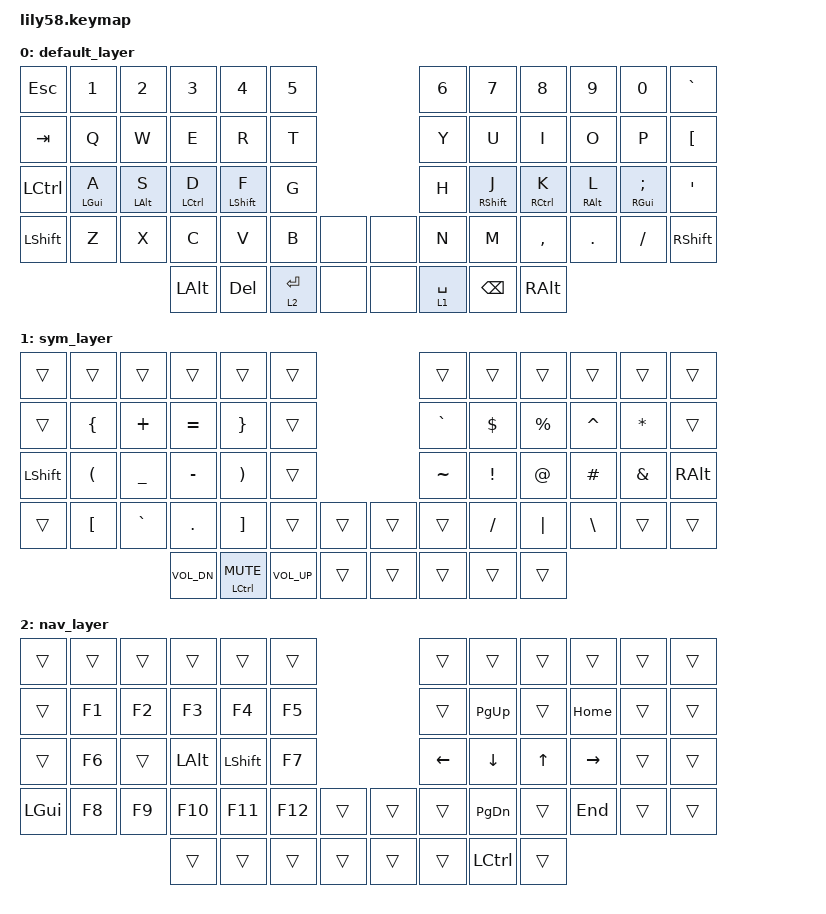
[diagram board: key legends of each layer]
/*
 * Copyright (c) 2020 The ZMK Contributors
 *
 * SPDX-License-Identifier: MIT
 */

#include <behaviors.dtsi>
#include <dt-bindings/zmk/keys.h>

/ {
    behaviors {
        mt: mod_tap {
            compatible = "zmk,behavior-hold-tap";
            #binding-cells = <2>;
            tapping-term-ms = <280>;
            quick-tap-ms = <175>;
            flavor = "tap-preferred";
            bindings = <&kp>, <&kp>;
        };
    };

    combos {
        compatible = "zmk,combos";

        combo_tverdyi_znak {
            bindings = <&kp RIGHT_BRACKET>;
            key-positions = <22 23>;
        };

        lang {
            bindings = <&kp LA(LEFT_SHIFT)>;
            key-positions = <50 57>;
        };

        Esc {
            bindings = <&kp ESC>;
            key-positions = <31 32>;
        };
    };

    keymap {
        compatible = "zmk,keymap";

        default_layer {
            bindings = <
&kp ESC    &kp N1      &kp N2      &kp N3              &kp N4       &kp N5                       &kp N6       &kp N7       &kp N8               &kp N9      &kp N0         &kp GRAVE
&kp TAB    &kp Q       &kp W       &kp E               &kp R        &kp T                        &kp Y        &kp U        &kp I                &kp O       &kp P          &kp LEFT_BRACKET
&kp LCTRL  &mt LGUI A  &mt LALT S  &mt LEFT_CONTROL D  &mt LSHFT F  &kp G                        &kp H        &mt RSHFT J  &mt RIGHT_CONTROL K  &mt RALT L  &mt RGUI SEMI  &kp SQT
&kp LSHFT  &kp Z       &kp X       &kp C               &kp V        &kp B        &none    &none  &kp N        &kp M        &kp COMMA            &kp DOT     &kp FSLH       &kp RSHFT
                                   &kp LALT            &kp DELETE   &lt 2 ENTER  &none    &none  &lt 1 SPACE  &kp BSPC     &kp RIGHT_ALT
            >;
        };

        sym_layer {
            bindings = <
&trans          &trans                &trans          &trans        &trans                 &trans                          &trans     &trans           &trans       &trans     &trans         &trans
&trans          &kp LEFT_BRACE        &kp PLUS        &kp EQUAL     &kp RIGHT_BRACE        &trans                          &kp GRAVE  &kp DOLLAR       &kp PERCENT  &kp CARET  &kp ASTERISK   &trans
&kp LEFT_SHIFT  &kp LEFT_PARENTHESIS  &kp UNDERSCORE  &kp MINUS     &kp RIGHT_PARENTHESIS  &trans                          &kp TILDE  &kp EXCLAMATION  &kp AT_SIGN  &kp HASH   &kp AMPERSAND  &kp RIGHT_ALT
&trans          &kp LBKT              &kp GRAVE       &kp DOT       &kp RBKT               &trans        &trans    &trans  &trans     &kp FSLH         &kp PIPE     &kp BSLH   &trans         &trans
                                                      &kp C_VOL_DN  &mt LCTRL C_MUTE       &kp C_VOL_UP  &trans    &trans  &trans     &trans           &trans
            >;
        };

        nav_layer {
            bindings = <
&trans    &trans  &trans  &trans    &trans     &trans                     &trans    &trans     &trans  &trans     &trans  &trans
&trans    &kp F1  &kp F2  &kp F3    &kp F4     &kp F5                     &trans    &kp PG_UP  &trans  &kp HOME   &trans  &trans
&trans    &kp F6  &trans  &kp LALT  &kp LSHFT  &kp F7                     &kp LEFT  &kp DOWN   &kp UP  &kp RIGHT  &trans  &trans
&kp LGUI  &kp F8  &kp F9  &kp F10   &kp F11    &kp F12  &trans    &trans  &trans    &kp PG_DN  &trans  &kp END    &trans  &trans
                          &trans    &trans     &trans   &trans    &trans  &trans    &kp LCTRL  &trans
            >;
        };
    };
};
